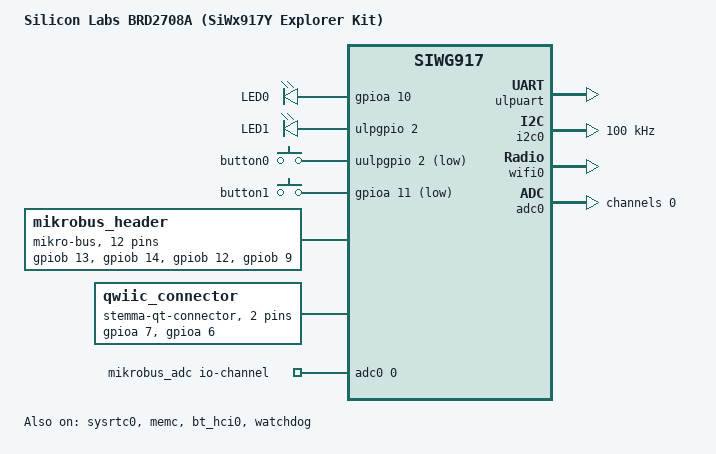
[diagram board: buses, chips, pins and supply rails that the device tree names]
/*
 * SPDX-FileCopyrightText: Copyright (c) 2026 Silicon Laboratories Inc.
 * SPDX-License-Identifier: Apache-2.0
 */

/dts-v1/;
#include <silabs/siwg917y111mgaba.dtsi>
#include <zephyr/dt-bindings/adc/silabs-siwx91x-adc.h>
#include <zephyr/dt-bindings/gpio/gpio.h>
#include <zephyr/dt-bindings/input/input-event-codes.h>
#include <zephyr/dt-bindings/memory-attr/memory-attr-arm.h>
#include <zephyr/dt-bindings/pinctrl/silabs/siwx91x-pinctrl.h>
#include <freq.h>
#include "siwx917_ek2708a-pinctrl.dtsi"

/ {
	model = "Silicon Labs BRD2708A (SiWx917Y Explorer Kit)";
	compatible = "silabs,siwx917_ek2708a", "silabs,siwg917";

	chosen {
		zephyr,bt-hci = &bt_hci0;
		zephyr,code-partition = &code_partition;
		zephyr,console = &ulpuart;
		zephyr,shell-uart = &ulpuart;
		zephyr,sram = &sram0;
		zephyr,uart-pipe = &ulpuart;
	};

	aliases {
		adc0 = &adc0;
		led0 = &led0;
		led1 = &led1;
		sw0 = &button0;
		sw1 = &button1;
	};

	leds {
		compatible = "gpio-leds";

		led0: led_0 {
			gpios = <&gpioa 10 GPIO_ACTIVE_HIGH>;
			label = "LED0";
		};

		led1: led_1 {
			gpios = <&ulpgpio 2 GPIO_ACTIVE_HIGH>;
			label = "LED1";
		};
	};

	buttons {
		compatible = "gpio-keys";

		button0: button_0 {
			gpios = <&uulpgpio 2 GPIO_ACTIVE_LOW>;
			zephyr,code = <INPUT_KEY_0>;
		};

		button1: button_1 {
			gpios = <&gpioa 11 GPIO_ACTIVE_LOW>;
			zephyr,code = <INPUT_KEY_1>;
		};
	};

	mikrobus_header: mikrobus-connector {
		compatible = "mikro-bus";
		#gpio-cells = <2>;
		gpio-map-mask = <0xffffffff 0>;
		gpio-map-pass-thru = <0 GPIO_DT_FLAGS_MASK>;
		gpio-map = <0 0 &gpiob 13 0>,   /* AN   */
			   <1 0 &gpiob 14 0>,   /* RST  */
			   <2 0 &gpiob 12 0>,   /* CS   */
			   <3 0 &gpiob 9 0>,    /* SCK  */
			   <4 0 &gpiob 10 0>,   /* MISO */
			   <5 0 &gpiob 11 0>,   /* MOSI */
			   <6 0 &gpioa 12 0>,   /* PWM  */
			   <7 0 &uulpgpio 2 0>, /* INT  */
			   <8 0 &ulpgpio 6 0>,  /* RX   */
			   <9 0 &ulpgpio 7 0>,  /* TX   */
			   <10 0 &gpioa 7 0>,   /* SCL  */
			   <11 0 &gpioa 6 0>;   /* SDA  */
	};

	qwiic_connector: stemma-qt-connector {
		compatible = "stemma-qt-connector";
		#gpio-cells = <2>;
		gpio-map-mask = <0xffffffff 0>;
		gpio-map-pass-thru = <0 GPIO_DT_FLAGS_MASK>;
		gpio-map = <0 0 &gpioa 7 0>, /* SCL */
			   <1 0 &gpioa 6 0>; /* SDA */
	};

	mikrobus_adc: zephyr,user {
		io-channels = <&adc0 0>;
	};
};

&flash0 {
	partitions {
		ranges;
		#address-cells = <1>;
		#size-cells = <1>;

		code_partition: partition@202000 {
			compatible = "zephyr,mapped-partition";
			reg = <0x00202000 DT_SIZE_K(2008)>;
			label = "code_partition";
		};

		storage_partition: partition@3f8000 {
			compatible = "zephyr,mapped-partition";
			reg = <0x003f8000 DT_SIZE_K(32)>;
			label = "storage";
		};
	};
};

&cpu0 {
	clock-frequency = <180000000>;
};

&ulpuart {
	pinctrl-0 = <&ulpuart_default>;
	pinctrl-names = "default";
	status = "okay";
};

&i2c0 {
	clock-frequency = <DT_FREQ_K(100)>;
	pinctrl-0 = <&i2c0_default>;
	pinctrl-names = "default";
	status = "okay";
};

&spi0 {
	cs-gpios = <&gpiob 12 GPIO_ACTIVE_LOW>;
	pinctrl-0 = <&spi0_default>;
	pinctrl-names = "default";
	status = "disabled";
};

&sysrtc0 {
	status = "okay";
};

&memc {
	clocks = <&clock0 SIWX91X_CLK_QSPI>;
	pinctrl-0 = <&psram_default>;
	pinctrl-names = "default";
	device-id = [0d 5d 00 00 00 00 00 00];
	fast-freq = <DT_FREQ_M(144)>;
	normal-freq = <DT_FREQ_M(33)>;
	status = "okay";

	psram: psram@a000000 {
		compatible = "zephyr,memory-region", "mmio-sram";
		reg = <0xa000000 DT_SIZE_M(8)>;
		zephyr,memory-attr = <DT_MEM_ARM(ATTR_MPU_RAM)>;
		zephyr,memory-region = "psram";
	};
};

&ulpdma {
	status = "okay";
};

&dma0 {
	status = "okay";
};

&gpdma {
	status = "okay";
};

&bt_hci0 {
	status = "okay";
};

&wifi0 {
	status = "okay";
};

&watchdog {
	status = "okay";
};

&adc0 {
	pinctrl-0 = <&adc0_default>;
	pinctrl-names = "default";
	silabs,adc-ref-voltage = <3300>;

	channel@0 {
		reg = <0>;
		zephyr,gain = "ADC_GAIN_1";
		zephyr,reference = "ADC_REF_INTERNAL";
		zephyr,acquisition-time = <0>;
		zephyr,resolution = <12>;
		zephyr,input-positive = <SIWX91X_ADC_INPUT_HP29>;
	};

	status = "okay";
};

mikrobus_i2c: &i2c0 {};

mikrobus_spi: &spi0 {};

zephyr_i2c: &i2c0 {};

zephyr_spi: &spi0 {};
